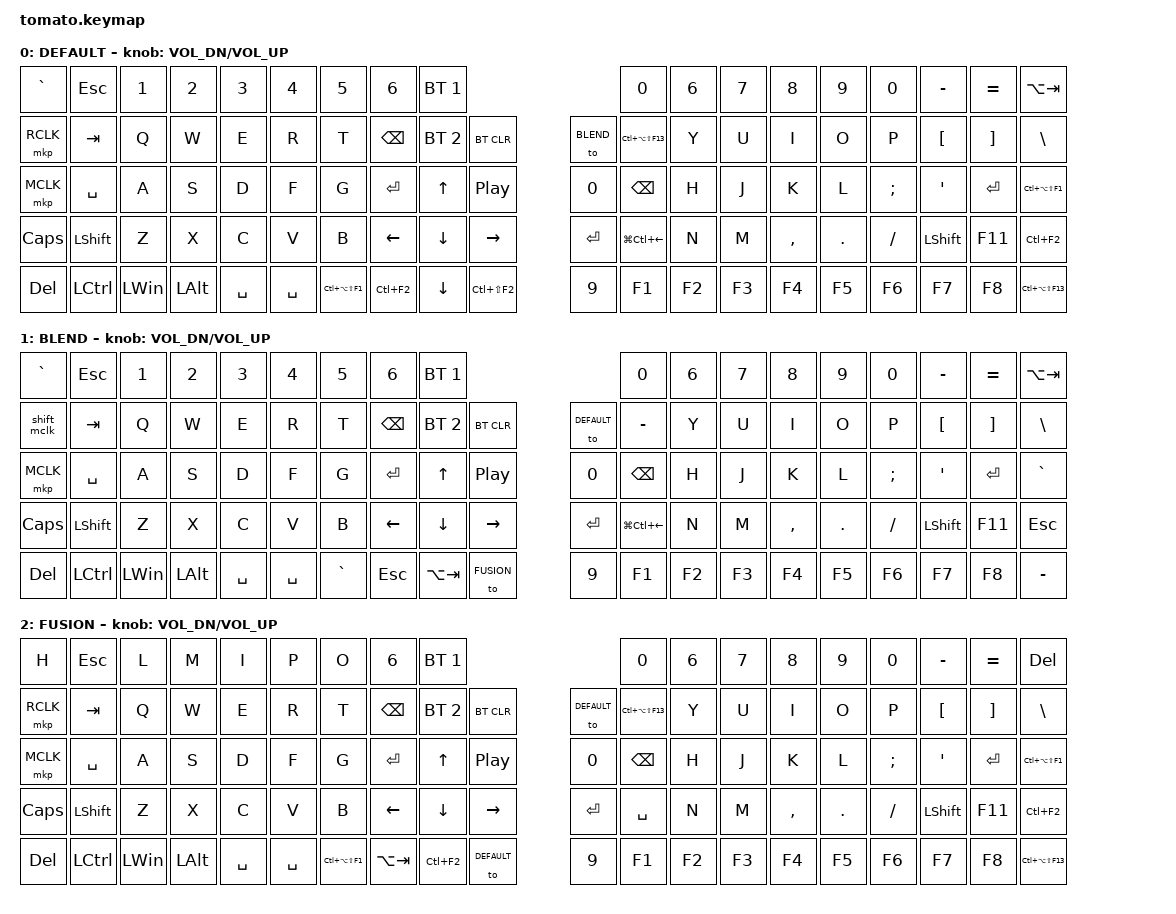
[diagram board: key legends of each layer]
#include <behaviors.dtsi>
#include <dt-bindings/zmk/keys.h>
#include <dt-bindings/zmk/bt.h>
#include <dt-bindings/zmk/pointing.h>

#define DEFAULT 0
#define BLEND 1
#define FUSION 2

/ {
    macros {
        ctrl_mmb_hold: ctrl_mmb_hold {
            compatible = "zmk,behavior-macro";
            #binding-cells = <0>;
            bindings =
                <&macro_press &kp LCTRL>
                , <&macro_press &mkp MB3>
                , <&macro_pause_for_release>
                , <&macro_release &mkp MB3>
                , <&macro_release &kp LCTRL>;
        };

    shift_mclk: shift_mclk {
        compatible = "zmk,behavior-macro";
        #binding-cells = <0>;
        bindings =
            <&macro_press &kp LSHIFT>
            , <&macro_press &mkp MCLK>
            , <&macro_pause_for_release>
            , <&macro_release &mkp MCLK>
            , <&macro_release &kp LSHIFT>;
        };
        
    };
    keymap {
        compatible = "zmk,keymap";

        DEFAULT {
            bindings = <       
&kp GRAVE &kp ESCAPE &kp N1 &kp N2 &kp N3 &kp N4 &kp N5 &kp N6 &bt BT_SEL 1   &kp N0 &kp N6 &kp N7 &kp N8 &kp N9 &kp N0 &kp MINUS &kp EQUAL &kp LA(TAB)
&mkp RCLK &kp TAB &kp Q &kp W &kp E &kp R &kp T &kp BSPC &bt BT_SEL 2 &bt BT_CLR &to BLEND &kp LC(LA(LS(F13))) &kp Y &kp U &kp I &kp O &kp P &kp LBKT &kp RBKT &kp BSLH
&mkp MCLK &kp SPACE &kp A &kp S &kp D &kp F &kp G &kp ENTER &kp UP &kp C_PLAY_PAUSE &kp N0 &kp BSPC &kp H &kp J &kp K &kp L &kp SEMI &kp APOS &kp ENTER &kp LC(LA(LS(F1)))
&kp CAPS &kp LSHIFT &kp Z &kp X &kp C &kp V &kp B &kp LEFT &kp DOWN &kp RIGHT &kp ENTER &kp LG(LC(LEFT)) &kp N &kp M &kp COMMA &kp PERIOD &kp SLASH &kp LSHIFT &kp F11 &kp LC(F2)
&kp DELETE &kp LCTRL &kp LEFT_WIN &kp LALT &kp SPACE &kp SPACE &kp LC(LA(LS(F1))) &kp LC(F2) &kp DOWN &kp LC(LS(F2)) &kp N9  &kp F1 &kp F2 &kp F3 &kp F4 &kp F5 &kp F6 &kp F7 &kp F8 &kp LC(LA(LS(F13)))
        >;      
            sensor-bindings = <&inc_dec_kp C_VOL_DN C_VOL_UP>;
        };

         BLEND {
            bindings = <       
&kp GRAVE &kp ESCAPE &kp N1 &kp N2 &kp N3 &kp N4 &kp N5 &kp N6 &bt BT_SEL 1   &kp N0 &kp N6 &kp N7 &kp N8 &kp N9 &kp N0 &kp MINUS &kp EQUAL &kp LA(TAB)
&shift_mclk &kp TAB &kp Q &kp W &kp E &kp R &kp T &kp BSPC &bt BT_SEL 2 &bt BT_CLR &to DEFAULT &kp MINUS &kp Y &kp U &kp I &kp O &kp P &kp LBKT &kp RBKT &kp BSLH
&mkp MCLK &kp SPACE &kp A &kp S &kp D &kp F &kp G &kp ENTER &kp UP &kp C_PLAY_PAUSE &kp N0 &kp BSPC &kp H &kp J &kp K &kp L &kp SEMI &kp APOS &kp ENTER &kp GRAVE
&kp CAPS &kp LSHIFT &kp Z &kp X &kp C &kp V &kp B &kp LEFT &kp DOWN &kp RIGHT &kp ENTER &kp LG(LC(LEFT)) &kp N &kp M &kp COMMA &kp PERIOD &kp SLASH &kp LSHIFT &kp F11 &kp ESCAPE
&kp DELETE &kp LCTRL &kp LEFT_WIN &kp LALT &kp SPACE &kp SPACE &kp GRAVE &kp ESCAPE  &kp LA(TAB) &to FUSION &kp N9  &kp F1 &kp F2 &kp F3 &kp F4 &kp F5 &kp F6 &kp F7 &kp F8 &kp MINUS
            >;

            sensor-bindings = <&inc_dec_kp C_VOL_DN C_VOL_UP>;
        };

         FUSION {
            bindings = <       
&kp H &kp ESCAPE &kp L &kp M &kp  I &kp P &kp O &kp N6 &bt BT_SEL 1   &kp N0 &kp N6 &kp N7 &kp N8 &kp N9 &kp N0 &kp MINUS &kp EQUAL &kp DELETE
&mkp RCLK &kp TAB &kp Q &kp W &kp E &kp R &kp T &kp BSPC &bt BT_SEL 2 &bt BT_CLR &to DEFAULT &kp LC(LA(LS(F13))) &kp Y &kp U &kp I &kp O &kp P &kp LBKT &kp RBKT &kp BSLH
&mkp MCLK &kp SPACE &kp A &kp S &kp D &kp F &kp G &kp ENTER &kp UP &kp C_PLAY_PAUSE &kp N0 &kp BSPC &kp H &kp J &kp K &kp L &kp SEMI &kp APOS &kp ENTER &kp LC(LA(LS(F1)))
&kp CAPS &kp LSHIFT &kp Z &kp X &kp C &kp V &kp B &kp LEFT &kp DOWN &kp RIGHT &kp ENTER &kp SPACE &kp N &kp M &kp COMMA &kp PERIOD &kp SLASH &kp LSHIFT &kp F11 &kp LC(F2)
&kp DELETE &kp LCTRL &kp LEFT_WIN &kp LALT &kp SPACE &kp SPACE &kp LC(LA(LS(F1)))  &kp LA(TAB) &kp LC(F2) &to DEFAULT &kp N9  &kp F1 &kp F2 &kp F3 &kp F4 &kp F5 &kp F6 &kp F7 &kp F8 &kp LC(LA(LS(F13)))
            >;

            sensor-bindings = <&inc_dec_kp C_VOL_DN C_VOL_UP>; 

        };
    };
};

